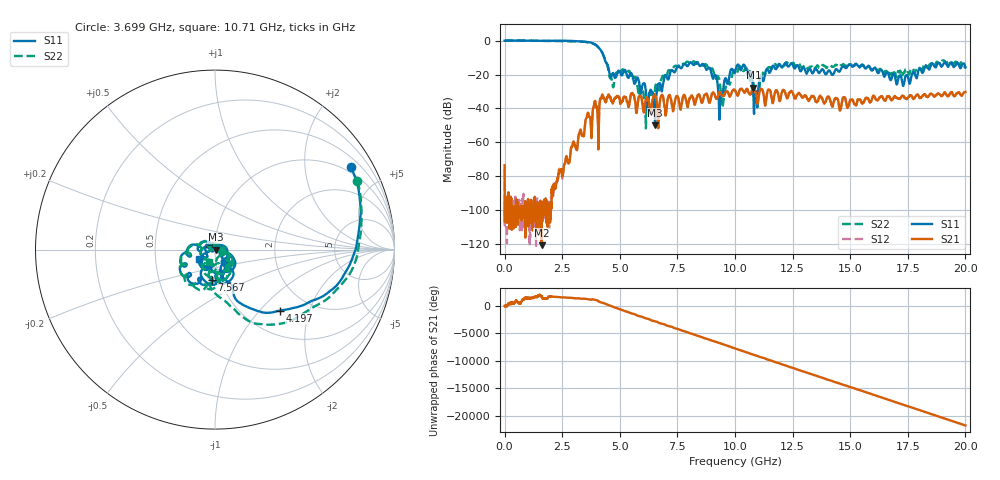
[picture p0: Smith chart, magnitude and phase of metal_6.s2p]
#  HZ  S  RI  R  50.00
! Rohde & Schwarz Vector Network Analyzer
! Rohde-Schwarz,ZNB20-2Port,1311601062102128,3.60
! Created: UTC 4/29/2024, 3:48:44 PM
! freq[Hz]  re:S11  im:S11  re:S21  im:S21  re:S12  im:S12  re:S22  im:S22
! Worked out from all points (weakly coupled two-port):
!   2007 points, 100 kHz to 20 GHz, reference 50 ohm
!   highest |S21| = -27.77 dB at 10.8 GHz (marker M1); lowest = -120.6 dB at 1.605 GHz (marker M2)
!   lowest |S11| = -49.9 dB at 6.53 GHz (marker M3), VSWR 1.01, Z = 50.3 - j0.117 ohm
!   |S11| at or under -10 dB: 4.327 GHz to end of sweep
!   |S22| runs from -51.8 to 0.1 dB; largest |S21 - S12| = 0.0021
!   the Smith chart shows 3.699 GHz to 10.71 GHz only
!   S11 on the Smith chart (normalised r, x): 3.699 GHz: 0.78, +3.38; 4.197 GHz: 1.44, -1.30; 7.567 GHz: 0.91, -0.32; 10.71 GHz: 0.83, -0.09
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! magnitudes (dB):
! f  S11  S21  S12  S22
! 100 kHz  0.0  -73.5  -76.0  0.1
! 1.605 GHz  -0.1  -120.6  -109.5  -0.2
! 2.473 GHz  0.0  -75.7  -77.0  -0.3
! 3.34 GHz  -0.6  -55.4  -55.0  -0.6
! 3.699 GHz  -1.0  -45.0  -44.9  -1.1
! 4.197 GHz  -6.1  -33.7  -34.2  -6.1
! 4.646 GHz  -20.6  -35.3  -35.4  -22.8
! 5.394 GHz  -21.5  -38.6  -38.7  -17.8
! 6.132 GHz  -29.8  -34.5  -34.5  -51.8
! 6.53 GHz  -49.9  -31.9  -31.9  -28.5
! 6.67 GHz  -25.4  -51.6  -51.7  -27.9
! 7.567 GHz  -15.3  -35.6  -35.6  -14.7
! 8.883 GHz  -16.0  -36.7  -36.6  -17.1
! 9.372 GHz  -33.7  -31.3  -31.2  -28.4
! 10 GHz  -18.5  -29.3  -29.2  -18.0
! 10.71 GHz  -19.6  -30.7  -30.7  -22.6
! 10.8 GHz  -32.4  -27.8  -27.8  -24.8
! 10.91 GHz  -31.8  -31.3  -31.4  -31.4
! 11.66 GHz  -14.8  -35.9  -36.0  -14.9
! 13.34 GHz  -19.1  -32.5  -32.5  -15.2
! 16.67 GHz  -19.9  -32.9  -32.9  -19.5
! 20 GHz  -15.8  -30.3  -30.3  -14.8
